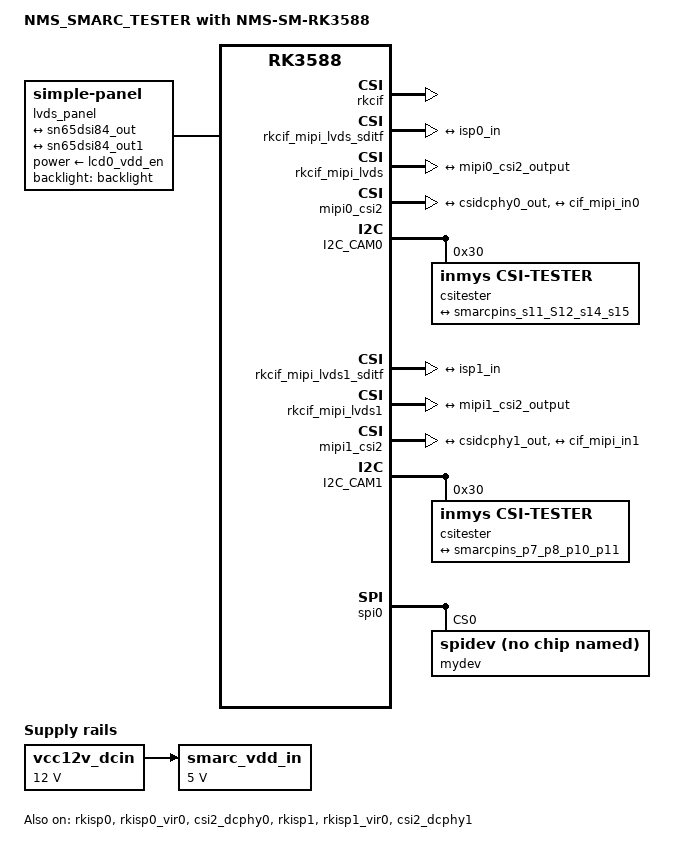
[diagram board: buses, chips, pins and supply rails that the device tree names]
// SPDX-License-Identifier: (GPL-2.0+ OR MIT)
/*
 * Copyright (c) 2023 Rockchip Electronics Co., Ltd.
 * Copyright (c) 2025 InMys Limited
 *
 */

/dts-v1/;

/* The tester checks the dsi -> lvds bridge (U7, SN65DSI84), so the bridge is
 * driven by the drm driver here instead of just being hogged enabled. */
#define DSI 1
#define DSI_TO_LVDS_BRIDGE 1

/* Drive both lvds channels, so the tester can check the second one. The
 * bridge then sends odd pixels on channel A and even on B, which halves what
 * each carries: at 800x480 the fpga should see 400 of 800 per line on each,
 * and half the word clock - 16.5MHz rather than 33. */
#define LVDS_DUAL_LINK 1

/* Single link, but out on channel B rather than A - the bridge's channel swap.
 * Nothing else changes: the fpga should see on B exactly what it sees on A in
 * an ordinary single link, 800 of 928 at 33MHz, and A should go silent. */
#define LVDS_SWAP_TO_B 0

/* PCIe lanes on the tester: all four SMARC PCIe ports as x1 (see som_v2.dtsi) */
#define PCIE30_PHY_MODE 3
/* CSI0 carries the csi tester here, not the CAM0 camera */
#define CAM0 0

#include "rk3588-inmys-smarc-som_v2.dtsi"

/ {
	model = "NMS_SMARC_TESTER with NMS-SM-RK3588";
	compatible = "inmys,rk3588-smarc-tester", "inmys,rk3588-smarc-som", "rockchip,rk3588";

	/* No panel on the tester: the lvds pairs go to three FIN1032 receivers and
	 * on to the fpga. This node only exists to give the bridge a sink and a
	 * mode. 800x480 at 33MHz keeps the lvds bit rate at 7*33 = 231Mbit/s,
	 * which the fpga can still deserialise. */
	lvds_panel {
		compatible = "simple-panel";
		backlight = <&backlight>;
		power-supply = <&lcd0_vdd_en>;
		enable-delay-ms = <20>;
		prepare-delay-ms = <20>;
		unprepare-delay-ms = <20>;
		disable-delay-ms = <20>;
		bus-format = <0x1012>; /* MEDIA_BUS_FMT_RGB888_1X7X4_JEIDA */
		width-mm = <231>;
		height-mm = <139>;
		display-timings {
			native-mode = <&timing0>;
			#if 1
			timing0: timing0 {
				clock-frequency = <33000000>;
				hactive = <800>;
				vactive = <480>;
				hback-porch = <40>;
				hfront-porch = <40>;
				vback-porch = <29>;
				vfront-porch = <13>;
				hsync-len = <48>;
				vsync-len = <3>;
				hsync-active = <1>;
				vsync-active = <1>;
				de-active = <1>;
				pixelclk-active = <0>;
			};
			#endif
			#if 0
			timing0: timing0 {
				/*
				 * Bog standard VESA 800x600@60: htotal 1056,
				 * vtotal 628, 40MHz. Picked over the 800x480@68
				 * that was here because the manual ipi timing
				 * path in the dsi driver has the best chance on
				 * a textbook mode. 7 x 40 = 280Mbit/s on the
				 * lvds data lanes, comfortably inside what the
				 * FIN1032 receivers on the tester handle, and
				 * well short of the 455Mbit/s that 1024x768@60
				 * would have asked of them.
				 */
				clock-frequency = <40000000>;
				hactive = <800>;
				vactive = <600>;
				hback-porch = <88>;
				hfront-porch = <40>;
				vback-porch = <23>;
				vfront-porch = <1>;
				hsync-len = <128>;
				vsync-len = <4>;
				hsync-active = <1>;
				vsync-active = <1>;
				de-active = <1>;
				pixelclk-active = <0>;
			};
			#endif
			#if 0
                        timing0: timing0 {
                                clock-frequency = <148500000>;
                                hactive = <1200>;
                                vactive = <1920>;
                                hback-porch = <20>;
                                hfront-porch = <22>;
                                vback-porch = <178>;
                                vfront-porch = <32>;
                                hsync-len = <8>;
                                vsync-len = <8>;
                                hsync-active = <0>;
                                vsync-active = <0>;
                                de-active = <0>;
                                pixelclk-active = <0>;
                        };
			#endif
		};
		#if !LVDS_DUAL_LINK
		port {
			panel_in_lvds: endpoint {
#if LVDS_SWAP_TO_B
				remote-endpoint = <&sn65dsi84_out1>;
#else
				remote-endpoint = <&sn65dsi84_out>;
#endif
			};
		};
		#endif
		#if LVDS_DUAL_LINK
		ports {
			#address-cells = <1>;
			#size-cells = <0>;

			port@0 {
				reg = <0>;
				dual-lvds-odd-pixels;
				panel_in_lvds: endpoint {
					remote-endpoint = <&sn65dsi84_out>;
				};
			};
			port@1 {
				reg = <1>;
				dual-lvds-even-pixels;
				panel_in_lvds1: endpoint {
					remote-endpoint = <&sn65dsi84_out1>;
				};
			};
		};
		#endif
	};

	vcc12v_dcin: vcc12v-dcin {
		compatible = "regulator-fixed";
		regulator-name = "vcc12v_dcin";
		regulator-always-on;
		regulator-boot-on;
		regulator-min-microvolt = <12000000>;
		regulator-max-microvolt = <12000000>;
	};
	smarc_vdd_in: smarc-vdd-in {
		/* 3.0...5.25V main power input for som(from mother board) */
		compatible = "regulator-fixed";
		regulator-name = "SMARC_VDD_IN";
		regulator-always-on;
		regulator-boot-on;
		regulator-min-microvolt = <5000000>;
		regulator-max-microvolt = <5000000>;
		vin-supply = <&vcc12v_dcin>;
	};
};

/* video rx (by csi) */
&rkcif {
	status = "okay";
};
&rkcif_mmu {
	status = "okay";
};

/* csitesterBOT: SMARC: I2C_CAM0(I2C7_M0)  + SMARC: CSI0_CK + CSI0_RX (csi2_dcphy0) */
&rkisp0 {
	status = "okay";
};

&isp0_mmu {
	status = "okay";
};

&rkcif_mipi_lvds_sditf {
	status = "okay";

	port {
		mipi_lvds_sditf: endpoint {
			remote-endpoint = <&isp0_in>;
		};
	};
};

&rkisp0_vir0 {
	status = "okay";
		port {
		#address-cells = <1>;
		#size-cells = <0>;
		isp0_in: endpoint@0 {
			reg = <0>;
			remote-endpoint = <&mipi_lvds_sditf>;
		};
	};
};

&rkcif_mipi_lvds {
	status = "okay";
	port {
		cif_mipi_in0: endpoint {
			remote-endpoint = <&mipi0_csi2_output>;
		};
	};
};
&mipi0_csi2 {
	status = "okay";
	ports {
		#address-cells = <1>;
		#size-cells = <0>;
		port@0 {
			reg = <0>;
			#address-cells = <1>;
			#size-cells = <0>;
			mipi0_csi2_input: endpoint@1 {
				reg = <1>;
				remote-endpoint = <&csidcphy0_out>;
			};
		};
		port@1 {
			reg = <1>;
			#address-cells = <1>;
			#size-cells = <0>;
			mipi0_csi2_output: endpoint@0 {
				reg = <0>;
				remote-endpoint = <&cif_mipi_in0>;
			};
		};
	};
};

&csi2_dcphy0 {
	status = "okay";
	ports {
		#address-cells = <1>;
		#size-cells = <0>;
		port@0 {
			reg = <0>;
			#address-cells = <1>;
			#size-cells = <0>;
			smarcpins_s11_S12_s14_s15: endpoint@1 {
				reg = <1>;
				remote-endpoint = <&csi_tester_bot_out>;
				data-lanes = <1 2>;
			};
		};
		port@1 {
			reg = <1>;
			#address-cells = <1>;
			#size-cells = <0>;
			csidcphy0_out: endpoint@0 {
				reg = <0>;
				remote-endpoint = <&mipi0_csi2_input>;
			};
		};
	};
};

&I2C_CAM0 {
	status = "okay";
	csitester@30 {
		compatible = "inmys,csi-tester";
		reg = <0x30>;
		status = "okay";
		rockchip,camera-module-index = <1>;
		rockchip,camera-module-facing = "back";
		rockchip,camera-module-name = "NC";
		rockchip,camera-module-lens-name = "NC";
		port {
			csi_tester_bot_out: endpoint {
				remote-endpoint = <&smarcpins_s11_S12_s14_s15>; //dcphy1*/
				data-lanes = <1 2>;
			};
		};
	};
};

/* csitesterTOP: SMARC: I2C_CAM1(I2C3_M1)  + SMARC: CSI1_CK + CSI1_RX (csi2_dcphy1) */
&rkisp1 {
	status = "okay";
};

&isp1_mmu {
	status = "okay";
};

&rkcif_mipi_lvds1_sditf {
	status = "okay";

	port {
		mipi1_lvds_sditf: endpoint {
			remote-endpoint = <&isp1_in>;
		};
	};
};

&rkisp1_vir0 {
	status = "okay";
		port {
		#address-cells = <1>;
		#size-cells = <0>;
		isp1_in: endpoint@0 {
			reg = <0>;
			remote-endpoint = <&mipi1_lvds_sditf>;
		};
	};
};

&rkcif_mipi_lvds1 {
	status = "okay";
	port {
		cif_mipi_in1: endpoint {
			remote-endpoint = <&mipi1_csi2_output>;
		};
	};
};
&mipi1_csi2 {
	status = "okay";
	ports {
		#address-cells = <1>;
		#size-cells = <0>;
		port@0 {
			reg = <0>;
			#address-cells = <1>;
			#size-cells = <0>;
			mipi1_csi2_input: endpoint@1 {
				reg = <1>;
				remote-endpoint = <&csidcphy1_out>;
			};
		};
		port@1 {
			reg = <1>;
			#address-cells = <1>;
			#size-cells = <0>;
			mipi1_csi2_output: endpoint@0 {
				reg = <0>;
				remote-endpoint = <&cif_mipi_in1>;
			};
		};
	};
};

&csi2_dcphy1 {
	status = "okay";
	ports {
		#address-cells = <1>;
		#size-cells = <0>;
		port@0 {
			reg = <0>;
			#address-cells = <1>;
			#size-cells = <0>;
			smarcpins_p7_p8_p10_p11: endpoint@1 {
				reg = <1>;
				remote-endpoint = <&csi_tester_top_out>;
				/*data-lanes = <1 2 3 4>;*/
				data-lanes = <1 2>;
			};
		};
		port@1 {
			reg = <1>;
			#address-cells = <1>;
			#size-cells = <0>;
			csidcphy1_out: endpoint@0 {
				reg = <0>;
				remote-endpoint = <&mipi1_csi2_input>;
			};
		};
	};
};

&I2C_CAM1 {
	status = "okay";
	csitester@30 {
		compatible = "inmys,csi-tester";
		reg = <0x30>;
		status = "okay";
		rockchip,camera-module-index = <0>;
		rockchip,camera-module-facing = "back";
		rockchip,camera-module-name = "NC";
		rockchip,camera-module-lens-name = "NC";
		port {
			csi_tester_top_out: endpoint {
				remote-endpoint = <&smarcpins_p7_p8_p10_p11>; //dcphy1*/
				/*data-lanes = <1 2 3 4>;*/
				data-lanes = <1 2>;
			};
		};
	};
};


/* SMARC: I2C_GP */
#if 0
&I2C_GP {
};
#endif

&spi0 {
	status = "okay";
	mydev@0 {
		reg = <0>;
		compatible = "rohm,dh2228fv";
	};
};


